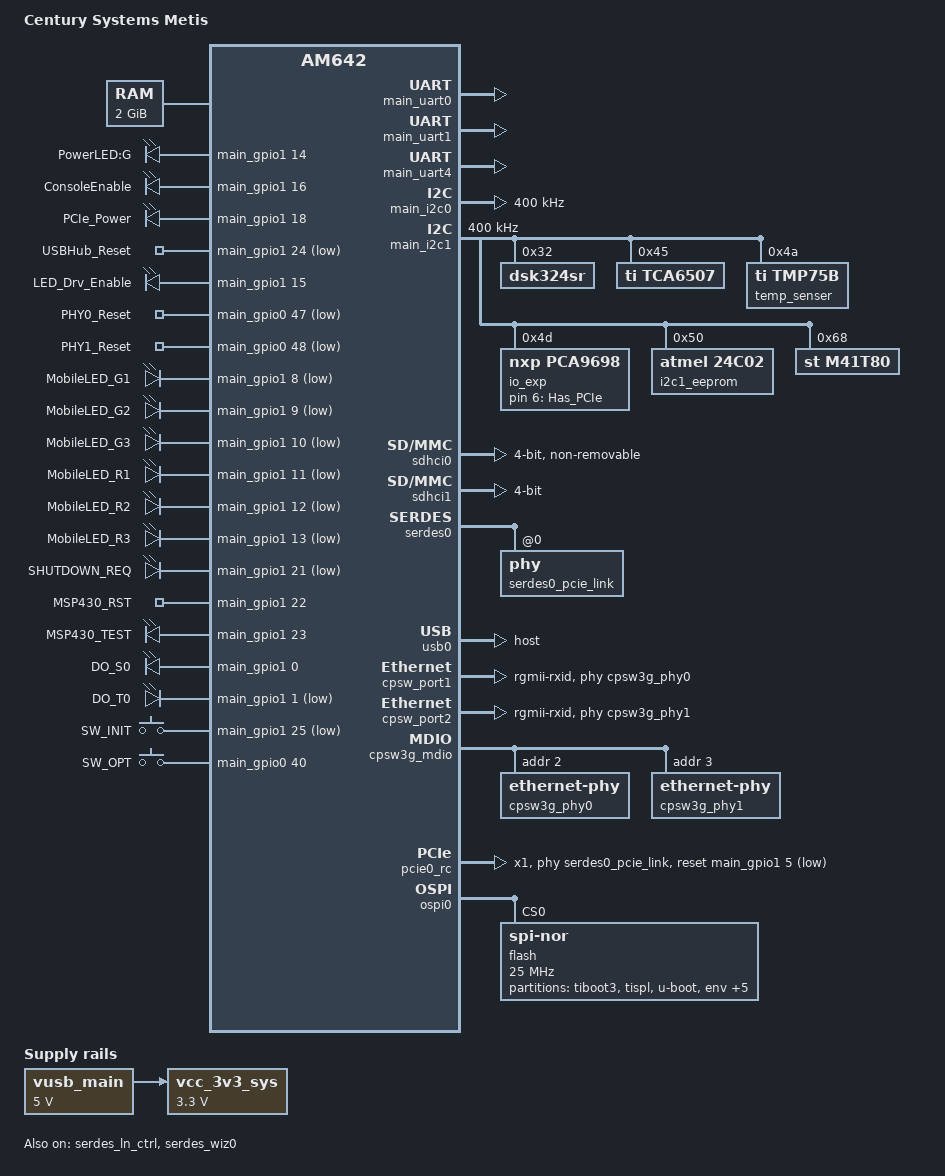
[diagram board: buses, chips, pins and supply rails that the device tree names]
// SPDX-License-Identifier: GPL-2.0
/*
 * Copyright (C) 2020-2021 Texas Instruments Incorporated - https://www.ti.com/
 */

/dts-v1/;

#include <dt-bindings/phy/phy.h>
#include <dt-bindings/mux/ti-serdes.h>
#include <dt-bindings/leds/common.h>
#include <dt-bindings/gpio/gpio.h>
#include <dt-bindings/net/ti-dp83867.h>
#include "k3-am642.dtsi"

/ {
	compatible =  "Centurysys,Metis", "ti,am642";
	model = "Century Systems Metis";

	chosen {
		stdout-path = "serial3:115200n8";
		bootargs = "console=ttyS3,115200n8 earlycon=ns16550a,mmio32,0x02810000";
	};

	memory@80000000 {
		device_type = "memory";
		/* 2G RAM */
		reg = <0x00000000 0x80000000 0x00000000 0x80000000>;
	};

	reserved-memory {
		#address-cells = <2>;
		#size-cells = <2>;
		ranges;

		secure_ddr: optee@9e800000 {
			reg = <0x00 0x9e800000 0x00 0x01800000>; /* for OP-TEE */
			alignment = <0x1000>;
			no-map;
		};

		main_r5fss0_core0_dma_memory_region: r5f-dma-memory@a0000000 {
			compatible = "shared-dma-pool";
			reg = <0x00 0xa0000000 0x00 0x100000>;
			no-map;
		};

		main_r5fss0_core0_memory_region: r5f-memory@a0100000 {
			compatible = "shared-dma-pool";
			reg = <0x00 0xa0100000 0x00 0xf00000>;
			no-map;
		};

		main_r5fss0_core1_dma_memory_region: r5f-dma-memory@a1000000 {
			compatible = "shared-dma-pool";
			reg = <0x00 0xa1000000 0x00 0x100000>;
			no-map;
		};

		main_r5fss0_core1_memory_region: r5f-memory@a1100000 {
			compatible = "shared-dma-pool";
			reg = <0x00 0xa1100000 0x00 0xf00000>;
			no-map;
		};

		main_r5fss1_core0_dma_memory_region: r5f-dma-memory@a2000000 {
			compatible = "shared-dma-pool";
			reg = <0x00 0xa2000000 0x00 0x100000>;
			no-map;
		};

		main_r5fss1_core0_memory_region: r5f-memory@a2100000 {
			compatible = "shared-dma-pool";
			reg = <0x00 0xa2100000 0x00 0xf00000>;
			no-map;
		};

		main_r5fss1_core1_dma_memory_region: r5f-dma-memory@a3000000 {
			compatible = "shared-dma-pool";
			reg = <0x00 0xa3000000 0x00 0x100000>;
			no-map;
		};

		main_r5fss1_core1_memory_region: r5f-memory@a3100000 {
			compatible = "shared-dma-pool";
			reg = <0x00 0xa3100000 0x00 0xf00000>;
			no-map;
		};

		rtos_ipc_memory_region: ipc-memories@a5000000 {
			reg = <0x00 0xa5000000 0x00 0x00800000>;
			alignment = <0x1000>;
			no-map;
		};
	};

	vusb_main: fixed-regulator-vusb-main5v0 {
		/* USB MAIN INPUT 5V DC */
		compatible = "regulator-fixed";
		regulator-name = "vusb_main5v0";
		regulator-min-microvolt = <5000000>;
		regulator-max-microvolt = <5000000>;
		regulator-always-on;
		regulator-boot-on;
	};

	vcc_3v3_sys: fixedregulator-vcc-3v3-sys {
		/* output of LP8733xx */
		compatible = "regulator-fixed";
		regulator-name = "vcc_3v3_sys";
		regulator-min-microvolt = <3300000>;
		regulator-max-microvolt = <3300000>;
		vin-supply = <&vusb_main>;
		regulator-always-on;
		regulator-boot-on;
	};

	leds: gpio-leds {
		compatible = "gpio-leds";
		pinctrl-names = "default";
		pinctrl-0 = <&system_led_pins_default>;
		status = "okay";

		led_power_g {
			label = "PowerLED:G";
			gpios = <&main_gpio1 14 GPIO_ACTIVE_HIGH>;
			default-state = "on";
		};

		console_enable {
			label = "ConsoleEnable";
			gpios = <&main_gpio1 16 GPIO_ACTIVE_HIGH>;
			default-state = "on";
		};

		pcie_power {
			label = "PCIe_Power";
			gpios = <&main_gpio1 18 GPIO_ACTIVE_HIGH>;
			default-state = "on";
		};

		usb_hub_reset {
			label = "USBHub_Reset";
			gpios = <&main_gpio1 24 GPIO_ACTIVE_LOW>;
		};

		led_drv_enable {
			label = "LED_Drv_Enable";
			gpios = <&main_gpio1 15 GPIO_ACTIVE_HIGH>;
			default-state = "on";
		};

		eth_phy0_reset {
			label = "PHY0_Reset";
			gpios = <&main_gpio0 47 GPIO_ACTIVE_LOW>;
			linux,default-trigger = "oneshot";
			led-pattern = <10 10>;
		};

		eth_phy1_reset {
			label = "PHY1_Reset";
			gpios = <&main_gpio0 48 GPIO_ACTIVE_LOW>;
			linux,default-trigger = "oneshot";
			led-pattern = <10 10>;
		};

		led_g1 {
			label = "MobileLED_G1";
			gpios = <&main_gpio1 8 GPIO_ACTIVE_LOW>;
		};

		led_g2 {
			label = "MobileLED_G2";
			gpios = <&main_gpio1 9 GPIO_ACTIVE_LOW>;
		};

		led_g3 {
			label = "MobileLED_G3";
			gpios = <&main_gpio1 10 GPIO_ACTIVE_LOW>;
		};

		led_r1 {
			label = "MobileLED_R1";
			gpios = <&main_gpio1 11 GPIO_ACTIVE_LOW>;
		};

		led_r2 {
			label = "MobileLED_R2";
			gpios = <&main_gpio1 12 GPIO_ACTIVE_LOW>;
		};

		led_r3 {
			label = "MobileLED_R3";
			gpios = <&main_gpio1 13 GPIO_ACTIVE_LOW>;
		};

		shutdown_req {
			label = "SHUTDOWN_REQ";
			gpios = <&main_gpio1 21 GPIO_ACTIVE_LOW>;
			linux,default-trigger = "cpu";
		};

		msp430_reset {
			label = "MSP430_RST";
			gpios = <&main_gpio1 22 GPIO_ACTIVE_HIGH>;
		};

		msp430_test {
			label = "MSP430_TEST";
			gpios = <&main_gpio1 23 GPIO_ACTIVE_HIGH>;
		};

		do_s0 {
			label = "DO_S0";
			gpios = <&main_gpio1 0 GPIO_ACTIVE_HIGH>;
		};

		do_t0 {
			label = "DO_T0";
			gpios = <&main_gpio1 1 GPIO_ACTIVE_LOW>;
		};
	};

	leds_msp430: leds-msp430 {
		compatible = "gpio-leds";
		status = "okay";

		has_pcie {
			label = "Has_PCIe";
			gpios = <&io_exp 6 GPIO_ACTIVE_HIGH>;
			retain-state-suspended;
			retain-state-shutdown;
			default-state = "keep";
		};
	};

	gpio_keys: gpio-keys {
		compatible = "gpio-keys";
		pinctrl-names = "default";
		pinctrl-0 = <&key_gpio_pins_default>;

		sw_init: sw_init {
			label = "SW_INIT";
			linux,code = <0x100>; /* BTN_0 */
			gpios = <&main_gpio1 25 GPIO_ACTIVE_LOW>;
		};

		sw_opt: sw_opt {
			label = "SW_OPT";
			linux,code = <0x101>; /* BTN_1 */
			gpios = <&main_gpio0 40 GPIO_ACTIVE_HIGH>;
		};
	};
};

&main_pmx0 {
	main_gpio1_pins_default: main-gpio1-pins-default {
		pinctrl-single,pins = <
			AM64X_IOPAD(0x0250, PIN_INPUT_PULLUP, 7) /* (A17) MCAN0_TX.GPIO1_60 */
			AM64X_IOPAD(0x0254, PIN_INPUT_PULLUP, 7) /* (B17) MCAN0_RX.GPIO1_61 */
			AM64X_IOPAD(0x0258, PIN_INPUT_PULLUP, 7) /* (C17) MCAN1_TX.GPIO1_62 */
			AM64X_IOPAD(0x025c, PIN_INPUT_PULLUP, 7) /* (D17) MCAN1_RX.GPIO1_63 */
		>;
	};

	main_uart0_pins_default: main-uart0-pins-default {
		pinctrl-single,pins = <
			AM64X_IOPAD(0x0238, PIN_INPUT, 0)		/* (B16) UART0_CTSn */
			AM64X_IOPAD(0x023c, PIN_OUTPUT, 0)		/* (A16) UART0_RTSn */
			AM64X_IOPAD(0x0230, PIN_INPUT, 0)		/* (D15) UART0_RXD */
			AM64X_IOPAD(0x0234, PIN_OUTPUT, 0)		/* (C16) UART0_TXD */
			AM64X_IOPAD(0x006c, PIN_OUTPUT, 7)		/* (W21) UART0_DTR */
			AM64X_IOPAD(0x0070, PIN_INPUT, 7)		/* (V18) UART0_DSR */
			AM64X_IOPAD(0x0074, PIN_INPUT, 7)		/* (Y21) UART0_DCD */
			AM64X_IOPAD(0x0078, PIN_INPUT, 7)		/* (Y20) UART0_RI */
		>;
	};

	main_uart1_pins_default: main-uart1-pins-default {
		pinctrl-single,pins = <
			AM64X_IOPAD(0x0240, PIN_INPUT, 0) 		/* (E15) UART1_RXD */
			AM64X_IOPAD(0x0244, PIN_OUTPUT, 0)		/* (E14) UART1_TXD */
		>;
	};

	main_uart2_pins_default: main-uart2-pins-default {
		pinctrl-single,pins = <
			AM64X_IOPAD(0x005c, PIN_INPUT, 2)		/* (V19) UART2_CTSn */
			AM64X_IOPAD(0x0044, PIN_OUTPUT, 2)		/* (T18) UART2_RTSn */
			AM64X_IOPAD(0x003c, PIN_INPUT, 2) 		/* (T20) UART2_RXD */
			AM64X_IOPAD(0x0040, PIN_OUTPUT, 2)		/* (U21) UART2_TXD */
		>;
	};

	main_uart4_pins_default: main-uart4-pins-default {
		pinctrl-single,pins = <
			AM64X_IOPAD(0x0054, PIN_INPUT, 2) 		/* (V20) UART4_RXD */
			AM64X_IOPAD(0x0058, PIN_OUTPUT, 2)		/* (V21) UART4_TXD */
			AM64X_IOPAD(0x007c, PIN_OUTPUT, 2)		/* (R17) GPMC0_CLK.RTS */
		>;
	};

	main_uart5_pins_default: main-uart5-pins-default {
		pinctrl-single,pins = <
			AM64X_IOPAD(0x0068, PIN_INPUT, 2)		/* (W20) UART5_CTSn */
			AM64X_IOPAD(0x008c, PIN_OUTPUT, 2)		/* (T21) UART5_RTSn */
			AM64X_IOPAD(0x0084, PIN_INPUT, 2) 		/* (P16) UART5_RXD */
			AM64X_IOPAD(0x0088, PIN_OUTPUT, 2)		/* (R18) UART5_TXD */
		>;
	};

	main_mmc1_pins_default: main-mmc1-pins-default {
		pinctrl-single,pins = <
			AM64X_IOPAD(0x0294, PIN_INPUT_PULLUP, 0)	/* (J19) MMC1_CMD */
			AM64X_IOPAD(0x0290, PIN_INPUT, 0)		/* (#N/A) MMC1_CLKLB */
			AM64X_IOPAD(0x028c, PIN_INPUT, 0)		/* (L20) MMC1_CLK */
			AM64X_IOPAD(0x0288, PIN_INPUT_PULLUP, 0)	/* (K21) MMC1_DAT0 */
			AM64X_IOPAD(0x0284, PIN_INPUT_PULLUP, 0)	/* (L21) MMC1_DAT1 */
			AM64X_IOPAD(0x0280, PIN_INPUT_PULLUP, 0)	/* (K19) MMC1_DAT2 */
			AM64X_IOPAD(0x027c, PIN_INPUT_PULLUP, 0)	/* (K18) MMC1_DAT3 */
			AM64X_IOPAD(0x0298, PIN_INPUT, 7)		/* (D19) MMC1_SDCD.GPIO1_77 */
		>;
	};

	main_usb0_pins_default: main-usb0-pins-default {
		pinctrl-single,pins = <
			AM64X_IOPAD(0x02a8, PIN_OUTPUT, 0) /* (E19) USB0_DRVVBUS */
		>;
	};

	main_i2c0_pins_default: main-i2c0-pins-default {
		pinctrl-single,pins = <
			AM64X_IOPAD(0x0260, PIN_INPUT_PULLUP, 0) /* (A18) I2C0_SCL */
			AM64X_IOPAD(0x0264, PIN_INPUT_PULLUP, 0) /* (B18) I2C0_SDA */
		>;
	};

	main_i2c1_pins_default: main-i2c1-pins-default {
		pinctrl-single,pins = <
			AM64X_IOPAD(0x0268, PIN_INPUT_PULLUP, 0) /* (C18) I2C1_SCL */
			AM64X_IOPAD(0x026c, PIN_INPUT_PULLUP, 0) /* (B19) I2C1_SDA */
		>;
	};

	main_i2c2_pins_default: main-i2c2-pins-default {
		u-boot,dm-spl;
		pinctrl-single,pins = <
			AM64X_IOPAD(0x00b0, PIN_INPUT_PULLUP, 1) /* (P19) I2C2_SCL */
			AM64X_IOPAD(0x00b4, PIN_INPUT_PULLUP, 1) /* (R21) I2C2_SDA */
		>;
	};

	mdio1_pins_default: mdio1-pins-default {
		pinctrl-single,pins = <
			AM64X_IOPAD(0x01fc, PIN_OUTPUT, 4) /* (R2) PRG0_PRU1_GPO19.MDIO0_MDC */
			AM64X_IOPAD(0x01f8, PIN_INPUT, 4) /* (P5) PRG0_PRU1_GPO18.MDIO0_MDIO */
		>;
	};

	rgmii1_pins_default: rgmii1-pins-default {
		pinctrl-single,pins = <
			AM64X_IOPAD(0x011c, PIN_INPUT, 4) /* (AA13) PRG1_PRU1_GPO5.RGMII1_RD0 */
			AM64X_IOPAD(0x0128, PIN_INPUT, 4) /* (U12) PRG1_PRU1_GPO8.RGMII1_RD1 */
			AM64X_IOPAD(0x0150, PIN_INPUT, 4) /* (Y13) PRG1_PRU1_GPO18.RGMII1_RD2 */
			AM64X_IOPAD(0x0154, PIN_INPUT, 4) /* (V12) PRG1_PRU1_GPO19.RGMII1_RD3 */
			AM64X_IOPAD(0x00d8, PIN_INPUT, 4) /* (W13) PRG1_PRU0_GPO8.RGMII1_RXC */
			AM64X_IOPAD(0x00cc, PIN_INPUT, 4) /* (V13) PRG1_PRU0_GPO5.RGMII1_RX_CTL */
			AM64X_IOPAD(0x0124, PIN_OUTPUT, 4) /* (V15) PRG1_PRU1_GPO7.RGMII1_TD0 */
			AM64X_IOPAD(0x012c, PIN_OUTPUT, 4) /* (V14) PRG1_PRU1_GPO9.RGMII1_TD1 */
			AM64X_IOPAD(0x0130, PIN_OUTPUT, 4) /* (W14) PRG1_PRU1_GPO10.RGMII1_TD2 */
			AM64X_IOPAD(0x014c, PIN_OUTPUT, 4) /* (AA14) PRG1_PRU1_GPO17.RGMII1_TD3 */
			AM64X_IOPAD(0x00e0, PIN_OUTPUT, 4) /* (U14) PRG1_PRU0_GPO10.RGMII1_TXC */
			AM64X_IOPAD(0x00dc, PIN_OUTPUT, 4) /* (U15) PRG1_PRU0_GPO9.RGMII1_TX_CTL */
		>;
	};

	rgmii2_pins_default: rgmii2-pins-default {
		pinctrl-single,pins = <
			AM64X_IOPAD(0x0108, PIN_INPUT, 4) /* (W11) PRG1_PRU1_GPO0.RGMII2_RD0 */
			AM64X_IOPAD(0x010c, PIN_INPUT, 4) /* (V11) PRG1_PRU1_GPO1.RGMII2_RD1 */
			AM64X_IOPAD(0x0110, PIN_INPUT, 4) /* (AA12) PRG1_PRU1_GPO2.RGMII2_RD2 */
			AM64X_IOPAD(0x0114, PIN_INPUT, 4) /* (Y12) PRG1_PRU1_GPO3.RGMII2_RD3 */
			AM64X_IOPAD(0x0120, PIN_INPUT, 4) /* (U11) PRG1_PRU1_GPO6.RGMII2_RXC */
			AM64X_IOPAD(0x0118, PIN_INPUT, 4) /* (W12) PRG1_PRU1_GPO4.RGMII2_RX_CTL */
			AM64X_IOPAD(0x0134, PIN_OUTPUT, 4) /* (AA10) PRG1_PRU1_GPO11.RGMII2_TD0 */
			AM64X_IOPAD(0x0138, PIN_OUTPUT, 4) /* (V10) PRG1_PRU1_GPO12.RGMII2_TD1 */
			AM64X_IOPAD(0x013c, PIN_OUTPUT, 4) /* (U10) PRG1_PRU1_GPO13.RGMII2_TD2 */
			AM64X_IOPAD(0x0140, PIN_OUTPUT, 4) /* (AA11) PRG1_PRU1_GPO14.RGMII2_TD3 */
			AM64X_IOPAD(0x0148, PIN_OUTPUT, 4) /* (Y10) PRG1_PRU1_GPO16.RGMII2_TXC */
			AM64X_IOPAD(0x0144, PIN_OUTPUT, 4) /* (Y11) PRG1_PRU1_GPO15.RGMII2_TX_CTL */
		>;
	};

	ospi0_pins_default: ospi0-pins-default {
		pinctrl-single,pins = <
			AM64X_IOPAD(0x0000, PIN_OUTPUT, 0) /* (N20) OSPI0_CLK */
			AM64X_IOPAD(0x002c, PIN_OUTPUT, 0) /* (L19) OSPI0_CSn0 */
			AM64X_IOPAD(0x000c, PIN_INPUT, 0) /* (M19) OSPI0_D0 */
			AM64X_IOPAD(0x0010, PIN_INPUT, 0) /* (M18) OSPI0_D1 */
			AM64X_IOPAD(0x0014, PIN_INPUT, 0) /* (M20) OSPI0_D2 */
			AM64X_IOPAD(0x0018, PIN_INPUT, 0) /* (M21) OSPI0_D3 */
		>;
	};

	system_led_pins_default: system-led-pins-default {
		pinctrl-single,pins = <
			AM64X_IOPAD(0x00c0, PIN_OUTPUT, 7) /* (W8) PRG1_PRU0_GPO2.GPIO0_47 */
			AM64X_IOPAD(0x00c4, PIN_OUTPUT, 7) /* (V8) PRG1_PRU0_GPO3.GPIO0_48 */
			AM64X_IOPAD(0x0160, PIN_OUTPUT, 7) /* (Y1) PRG0_PRU0_GPO0.GPIO1_0 */
			AM64X_IOPAD(0x0164, PIN_OUTPUT, 7) /* (R4) PRG0_PRU0_GPO1.GPIO1_1 */
			AM64X_IOPAD(0x0180, PIN_OUTPUT, 7) /* (T2) PRG0_PRU0_GPO8.GPIO1_8 */
			AM64X_IOPAD(0x0184, PIN_OUTPUT, 7) /* (W6) PRG0_PRU0_GPO9.GPIO1_9 */
			AM64X_IOPAD(0x0188, PIN_OUTPUT, 7) /* (AA5) PRG0_PRU0_GPO10.GPIO1_10 */
			AM64X_IOPAD(0x018c, PIN_OUTPUT, 7) /* (Y3) PRG0_PRU0_GPO11.GPIO1_11 */
			AM64X_IOPAD(0x0190, PIN_OUTPUT, 7) /* (AA3) PRG0_PRU0_GPO12.GPIO1_12 */
			AM64X_IOPAD(0x0194, PIN_OUTPUT, 7) /* (R6) PRG0_PRU0_GPO13.GPIO1_13 */
			AM64X_IOPAD(0x0198, PIN_OUTPUT, 7) /* (V4) PRG0_PRU0_GPO14.GPIO1_14 */
			AM64X_IOPAD(0x019c, PIN_OUTPUT, 7) /* (T5) PRG0_PRU0_GPO15.GPIO1_15 */
			AM64X_IOPAD(0x01a0, PIN_OUTPUT, 7) /* (U4) PRG0_PRU0_GPO16.GPIO1_16 */
			AM64X_IOPAD(0x01a8, PIN_OUTPUT, 7) /* (V1) PRG0_PRU0_GPO18.GPIO1_18 */
			AM64X_IOPAD(0x01b4, PIN_OUTPUT, 7) /* (V3) PRG0_PRU1_GPO1.GPIO1_21 */
			AM64X_IOPAD(0x01b8, PIN_OUTPUT, 7) /* (V3) PRG0_PRU1_GPO2.GPIO1_22 */
			AM64X_IOPAD(0x01bc, PIN_OUTPUT, 7) /* (T4) PRG0_PRU1_GPO3.GPIO1_23 */
			AM64X_IOPAD(0x01c0, PIN_OUTPUT, 7) /* (W3) PRG0_PRU1_GPO4.GPIO1_24 */
		>;
	};

	key_gpio_pins_default: key-gpio-pins-default {
		pinctrl-single,pins = <
			AM64X_IOPAD(0x0094, PIN_INPUT_PULLUP, 7) /* (P4) PRG0_PRU1_GPO5.GPIO1_25 */
			AM64X_IOPAD(0x01c4, PIN_INPUT_PULLUP, 7) /* (N17) GPMC0_DIR.GPIO0_40 */
		>;
	};

	pcie_ctrl_pins_default: pcie-ctrl-pins-default {
		pinctrl-single,pins = <
			AM64X_IOPAD(0x0174, PIN_OUTPUT, 7) /* (R3) PRG0_PRU0_GPO5.GPIO1_5 */
		>;
	};
};

&mcu_uart0 {
	status = "disabled";
};

&mcu_uart1 {
	status = "disabled";
};

&main_uart0 {
	pinctrl-names = "default";
	pinctrl-0 = <&main_uart0_pins_default>;
	dtr-gpios = <&main_gpio0 27 GPIO_ACTIVE_LOW>;
	dsr-gpios = <&main_gpio0 28 GPIO_ACTIVE_LOW>;
	dcd-gpios = <&main_gpio0 29 GPIO_ACTIVE_LOW>;
	rng-gpios = <&main_gpio0 30 GPIO_ACTIVE_LOW>;
	status = "okay";
};

&main_uart1 {
	pinctrl-names = "default";
	pinctrl-0 = <&main_uart1_pins_default>;
	status = "okay";
};

&main_uart2 {
	status = "disabled";
};

&main_uart3 {
	status = "disabled";
};

&main_uart4 {
	pinctrl-names = "default";
	pinctrl-0 = <&main_uart4_pins_default>;
	linux,rs485-enabled-at-boot-time;
	rs485-rts-active-low;
	status = "okay";
};

&main_uart5 {
	status = "disabled";
};

&main_uart6 {
	status = "disabled";
};

&mcu_i2c0 {
	status = "disabled";
};

&mcu_i2c1 {
	status = "disabled";
};

&main_i2c0 {
	status = "okay";
	pinctrl-names = "default";
	pinctrl-0 = <&main_i2c0_pins_default>;
	clock-frequency = <400000>;
};

&main_i2c1 {
	status = "okay";
	pinctrl-names = "default";
	pinctrl-0 = <&main_i2c1_pins_default>;
	clock-frequency = <400000>;

	dsk324sr: rtc@32 {
		compatible = "dsk324sr";
		reg = <0x32>;
	};

	tca6507@45 {
		compatible = "ti,tca6507";
		#address-cells = <1>;
		#size-cells = <0>;
		reg = <0x45>;

		led0: power-status-red@0 {
			label = "power-stat:r";
			reg = <0x0>;
		};

		led1: system-status1-red@1 {
			label = "system-status1:r";
			reg = <0x1>;
			linux,default-trigger = "heartbeat";
		};

		led2: system-status2-red@2 {
			label = "system-status2:r";
			reg = <0x2>;
		};

		led3: system-status3-red@3 {
			label = "system-status3:r";
			reg = <0x3>;
		};

		led4: system-status1-green@4 {
			label = "system-status1:g";
			reg = <0x4>;
			linux,default-trigger = "timer-suspend";
		};

		led5: system-status2-green@5 {
			label = "system-status2:g";
			reg = <0x5>;
		};

		led6: system-status3-green@6 {
			label = "system-status3:g";
			reg = <0x6>;
		};
	};

	temp_senser: tmp75b@4a {
		compatible = "ti,tmp75b";
		reg = <0x4a>;
	};

	io_exp: io_exp@4d {
		compatible = "nxp,pca9698";
		reg = <0x4d>;
		#address-cells = <1>;
		#size-cells = <0>;
		#gpio-cells = <2>;

		gpio-line-names = "Mobile_Power_MSP", "EXT_Mobile_Power_MSP", "",
				  "", "", "", "Has_PCIe", "SIM_Select",
				  "", "", "", "", "", "", "", "", /* Reserved */
				  "", "", "", "", "", "", "", "", /* Reserved */
				  "", "", "", "", "", "", "", "", /* Reserved */
				  "", "", "", "", "", "", "", ""; /* Reserved */
	};

	i2c1_eeprom: eeprom@50 {
		compatible = "atmel,24c02";
		reg = <0x50>;
	};

	m41t80: rtc@68 {
		compatible = "st,m41t80";
		reg = <0x68>;
		wakeup-source;
	};
};

&main_i2c3 {
	status = "disabled";
};

&mcu_spi0 {
	status = "disabled";
};

&mcu_spi1 {
	status = "disabled";
};

/* mcu_gpio0 is reserved for mcu firmware usage */
&mcu_gpio0 {
	status = "reserved";
};

&sdhci0 {
	/* eMMC */
	bus-width = <4>;
	non-removable;
	ti,driver-strength-ohm = <50>;
	disable-wp;
	status = "okay";
};

&sdhci1 {
	/* SD/MMC */
	/*vmmc-supply = <&vcc_3v3_sys>;*/
	pinctrl-names = "default";
	bus-width = <4>;
	/*no-1-8-v;*/
	pinctrl-0 = <&main_mmc1_pins_default>;
	ti,driver-strength-ohm = <50>;
	disable-wp;
	ti,fails-without-test-cd;
	cd-gpio = <&main_gpio1 77 GPIO_ACTIVE_LOW>;
	status = "okay";
};

&serdes_ln_ctrl {
	idle-states = <AM64_SERDES0_LANE0_PCIE0>;
	status = "okay";
};

&serdes_wiz0 {
	status = "okay";
};

&serdes0 {
	serdes0_pcie_link: phy@0 {
		reg = <0>;
		cdns,num-lanes = <1>;
		#phy-cells = <0>;
		cdns,phy-type = <PHY_TYPE_PCIE>;
		resets = <&serdes_wiz0 1>;
	};
};

&usbss0 {
	ti,usb2-only;
	ti,vbus-divider;
};

&usb0 {
	dr_mode = "host";
	maximum-speed = "high-speed";
	pinctrl-names = "default";
	pinctrl-0 = <&main_usb0_pins_default>;
	/*phys = <&serdes0_usb_link>;*/
	/*phy-names = "cdns3,usb2-phy";*/
};

&cpsw3g {
	pinctrl-names = "default";
	pinctrl-0 = <&rgmii1_pins_default
		     &rgmii2_pins_default>;

	cpts@3d000 {
		ti,pps = <7 1>;
	};
};

&cpsw_port1 {
	phy-mode = "rgmii-rxid";
	phy-handle = <&cpsw3g_phy0>;
};

&cpsw_port2 {
	phy-mode = "rgmii-rxid";
	phy-handle = <&cpsw3g_phy1>;
};

&cpsw3g_mdio {
	status = "okay";
	pinctrl-names = "default";
	pinctrl-0 = <&mdio1_pins_default>;

	cpsw3g_phy0: ethernet-phy@0 {
		reg = <2>;
		ti,rx-internal-delay = <DP83867_RGMIIDCTL_2_00_NS>;
		ti,fifo-depth = <DP83867_PHYCR_FIFO_DEPTH_4_B_NIB>;
	};

	cpsw3g_phy1: ethernet-phy@1 {
		reg = <3>;
		ti,rx-internal-delay = <DP83867_RGMIIDCTL_2_00_NS>;
		ti,fifo-depth = <DP83867_PHYCR_FIFO_DEPTH_4_B_NIB>;
	};
};

#define TS_OFFSET(pa, val)     (0x4+(pa)*4) (0x10000 | val)

&timesync_router {
	pinctrl-names = "default";
	pinctrl-0 = <&mcu_cpts_pps>;

	/* Example of the timesync routing */
	mcu_cpts_pps: mcu-cpts-pps {
		pinctrl-single,pins = <
				/* pps [cpts genf1] in22 -> out37 [cpts hw8_push] */
				TS_OFFSET(37, 22)
				/* pps [cpts genf1] in22 -> out25 [SYNC1_OUT pin] */
				TS_OFFSET(25, 22)
				>;
	};
};

&mailbox0_cluster2 {
	mbox_main_r5fss0_core0: mbox-main-r5fss0-core0 {
		ti,mbox-rx = <0 0 2>;
		ti,mbox-tx = <1 0 2>;
	};

	mbox_main_r5fss0_core1: mbox-main-r5fss0-core1 {
		ti,mbox-rx = <2 0 2>;
		ti,mbox-tx = <3 0 2>;
	};
};

&mailbox0_cluster3 {
	status = "disabled";
};

&mailbox0_cluster4 {
	mbox_main_r5fss1_core0: mbox-main-r5fss1-core0 {
		ti,mbox-rx = <0 0 2>;
		ti,mbox-tx = <1 0 2>;
	};

	mbox_main_r5fss1_core1: mbox-main-r5fss1-core1 {
		ti,mbox-rx = <2 0 2>;
		ti,mbox-tx = <3 0 2>;
	};
};

&mailbox0_cluster5 {
	status = "disabled";
};

&mailbox0_cluster6 {
	mbox_m4_0: mbox-m4-0 {
		ti,mbox-rx = <0 0 2>;
		ti,mbox-tx = <1 0 2>;
	};
};

&mailbox0_cluster7 {
	status = "disabled";
};

&pcie0_rc {
	pinctrl-names = "default";
	pinctrl-0 = <&pcie_ctrl_pins_default>;
	reset-gpios = <&main_gpio1 5 GPIO_ACTIVE_LOW>;
	phys = <&serdes0_pcie_link>;
	phy-names = "pcie-phy";
	num-lanes = <1>;
	status = "okay";
};

&pcie0_ep {
	phys = <&serdes0_pcie_link>;
	phy-names = "pcie-phy";
	num-lanes = <1>;
	status = "disabled";
};

&main_r5fss0_core0 {
	mboxes = <&mailbox0_cluster2 &mbox_main_r5fss0_core0>;
	memory-region = <&main_r5fss0_core0_dma_memory_region>,
			<&main_r5fss0_core0_memory_region>;
};

&main_r5fss0_core1 {
	mboxes = <&mailbox0_cluster2 &mbox_main_r5fss0_core1>;
	memory-region = <&main_r5fss0_core1_dma_memory_region>,
			<&main_r5fss0_core1_memory_region>;
};

&main_r5fss1_core0 {
	mboxes = <&mailbox0_cluster4 &mbox_main_r5fss1_core0>;
	memory-region = <&main_r5fss1_core0_dma_memory_region>,
			<&main_r5fss1_core0_memory_region>;
};

&main_r5fss1_core1 {
	mboxes = <&mailbox0_cluster4 &mbox_main_r5fss1_core1>;
	memory-region = <&main_r5fss1_core1_dma_memory_region>,
			<&main_r5fss1_core1_memory_region>;
};

&tscadc0 {
	status = "disabled";
};

&ospi0 {
	pinctrl-names = "default";
	pinctrl-0 = <&ospi0_pins_default>;

	flash@0 {
		compatible = "jedec,spi-nor";
		reg = <0x0>;
		spi-tx-bus-width = <4>;
		spi-rx-bus-width = <4>;
		spi-max-frequency = <25000000>;
		cdns,tshsl-ns = <60>;
		cdns,tsd2d-ns = <60>;
		cdns,tchsh-ns = <60>;
		cdns,tslch-ns = <60>;
		cdns,read-delay = <4>;
		cdns,phy-mode;
		#address-cells = <1>;
		#size-cells = <1>;

		partition@0 {
			label = "tiboot3";
			reg = <0x0 0x100000>;
		};

		partition@100000 {
			label = "tispl";
			reg = <0x100000 0x100000>;
		};

		partition@200000 {
			label = "u-boot";
			reg = <0x200000 0x200000>;
		};

		partition@400000 {
			label = "env";
			reg = <0x400000 0x20000>;
		};

		partition@420000 {
			label = "env.backup";
			reg = <0x420000 0x20000>;
		};

		partition@440000 {
			label = "boot.scr";
			reg = <0x440000 0x10000>;
		};

		partition@450000 {
			label = "reserved";
			reg = <0x450000 0x330000>;
		};

		partition@780000 {
			label = "hist_firmup";
			reg = <0x780000 0x40000>;
		};

		partition@7c0000 {
			label = "hist_boot";
			reg = <0x7c0000 0x40000>;
		};
	};
};

&main_mcan0 {
	status = "disabled";
};

&main_mcan1 {
	status = "disabled";
};

&icssg0_mdio {
	status = "disabled";
};

&icssg1_mdio {
	status = "disabled";
};

&main_gpio1 {
	pinctrl-names = "default";
	pinctrl-0 = <&main_gpio1_pins_default>;

	gpio-line-names = "DOUT_S0", "DOUT_T0", "Mobile_Wakeup_N", "Mobile_RI",
			  "Mobile_W_Disable", "Mobile_Reset", "Mobile_SIM_Sel", "", /* GPIO1_0 .. 7 */
			  "MobileLED:G0", "MobileLED:G1", "MobileLED:G2", "MobileLED:R0",
			  "MobileLED:R1", "MobileLED:R2", "PowerLED:G", "LED_Drv_Enable",
			  "ConsoleEnable", "eMMC_RST_N", "PCIe_Power_EN", "DIPSW4",
			  "DDR_VTT_EN", "MSP430_SHDN_N", "MSP430_RST", "MSP430_TEST",
			  "USBHub_Reset", "INIT_SW_N", "XIO_IRQ0_N", /* ..GPIO1_26 */
			  "", "", "", "", "", "", "", "", "", "", "", /* ..GPIO1_37 */
			  "", "", "", "", "", "", "", "", "", "XIO_IRQ1_N", /* ..GPIO1_47 */
			  "XIO_IRQ2_N", "", "", "", "", "", "", "", "", "", /* ..GPIO1_57 */
			  "", "", "DIN_S0", "DIN_S1", "DIN_T0", "DIN_T1";
};
